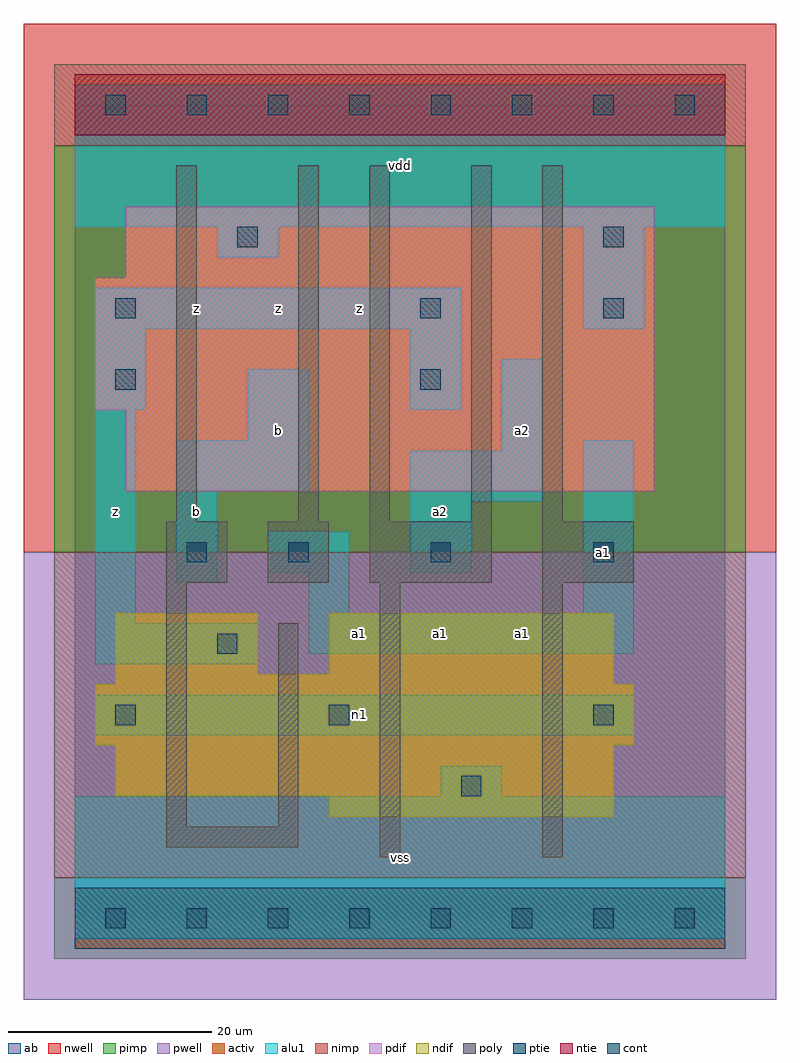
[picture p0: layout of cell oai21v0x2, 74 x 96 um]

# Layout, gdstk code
import gdstk
lib = gdstk.Library(unit=1e-6, precision=1e-09)
def R(c, l, rs):  # rectangles x0, y0, x1, y1
    for r in rs: c.add(gdstk.rectangle(r[:2], r[2:], *l))
def A(c, l, x, y, w, h, nx, ny, dx, dy):  # array of equal rectangles
    R(c, l, [(x+i*dx, y+j*dy, x+i*dx+w, y+j*dy+h) for i in range(nx) for j in range(ny)])
ndif = (3, 0)
pdif = (4, 0)
ntie = (5, 0)
ptie = (6, 0)
cont = (25, 0)
pwell = (41, 0)
nwell = (42, 0)
activ = (43, 0)
pimp = (44, 0)
nimp = (45, 0)
poly = (46, 0)
alu1 = (49, 0)
ab = (63, 0)

oai21v0x2 = lib.new_cell('oai21v0x2')
R(oai21v0x2, ndif, [(25,10,53,12), (4,12,53,17), (2,17,55,23), (4,23,53,24), (4,24,18,30), (25,24,53,30)])
R(oai21v0x2, pdif, [(5,42,57,50), (2,50,57,63), (5,63,57,70)])
R(oai21v0x2, ntie, [(0,77,64,83)])
R(oai21v0x2, ptie, [(0,-3,64,3)])
A(oai21v0x2, cont, 3, -1, 2, 2, 8, 2, 8, 80)
R(oai21v0x2, cont, [(38,12,40,14), (4,19,6,21), (25,19,27,21), (51,19,53,21), (14,26,16,28), (11,35,13,37), (21,35,23,37), (35,35,37,37), (51,35,53,37), (4,52,6,54), (34,52,36,54), (4,59,6,61), (34,59,36,61), (52,59,54,61), (16,66,18,68), (52,66,54,68)])
R(oai21v0x2, pwell, [(-5,-8,69,36)])
R(oai21v0x2, nwell, [(-5,36,69,88)])
R(oai21v0x2, activ, [(0,-3,64,3), (25,10,53,12), (4,12,53,17), (2,17,55,23), (4,23,53,24), (4,24,18,30), (25,24,53,30), (5,42,57,50), (2,50,57,63), (5,63,57,70), (0,77,64,83)])
R(oai21v0x2, pimp, [(-2,-4,66,4), (-2,36,66,76)])
R(oai21v0x2, nimp, [(-2,4,66,36), (-2,76,66,84)])
R(oai21v0x2, poly, [(30,6,32,33), (46,6,48,33), (9,7,22,9), (9,9,11,33), (20,9,22,29), (9,33,15,39), (19,33,25,39), (29,33,41,39), (46,33,55,39), (10,39,12,74), (22,39,24,74), (29,39,31,74), (39,39,41,74), (46,39,48,74)])
R(oai21v0x2, alu1, [(0,-2,64,12), (36,12,42,15), (2,18,55,22), (2,25,18,29), (23,26,55,30), (2,29,6,50), (23,30,27,34), (50,30,55,47), (10,33,14,42), (19,34,27,38), (33,34,39,41), (33,41,46,46), (10,42,23,47), (42,46,46,55), (17,47,23,54), (2,50,7,58), (33,50,38,58), (2,58,38,62), (50,58,56,68), (14,65,20,68), (0,68,64,82)])
R(oai21v0x2, ab, [(0,0,64,80)])
oai21v0x2.add(gdstk.Label('n1', (28,20), layer=49, texttype=0))
oai21v0x2.add(gdstk.Label('z', (4,40), layer=49, texttype=0))
oai21v0x2.add(gdstk.Label('b', (12,40), layer=49, texttype=0))
oai21v0x2.add(gdstk.Label('z', (12,60), layer=49, texttype=0))
oai21v0x2.add(gdstk.Label('a1', (28,28), layer=49, texttype=0))
oai21v0x2.add(gdstk.Label('b', (20,48), layer=49, texttype=0))
oai21v0x2.add(gdstk.Label('z', (20,60), layer=49, texttype=0))
oai21v0x2.add(gdstk.Label('z', (28,60), layer=49, texttype=0))
oai21v0x2.add(gdstk.Label('vss', (32,6), layer=49, texttype=0))
oai21v0x2.add(gdstk.Label('a1', (36,28), layer=49, texttype=0))
oai21v0x2.add(gdstk.Label('a1', (44,28), layer=49, texttype=0))
oai21v0x2.add(gdstk.Label('a2', (36,40), layer=49, texttype=0))
oai21v0x2.add(gdstk.Label('a2', (44,48), layer=49, texttype=0))
oai21v0x2.add(gdstk.Label('vdd', (32,74), layer=49, texttype=0))
oai21v0x2.add(gdstk.Label('a1', (52,36), layer=49, texttype=0))

lib.write_gds('oai21v0x2.gds')
